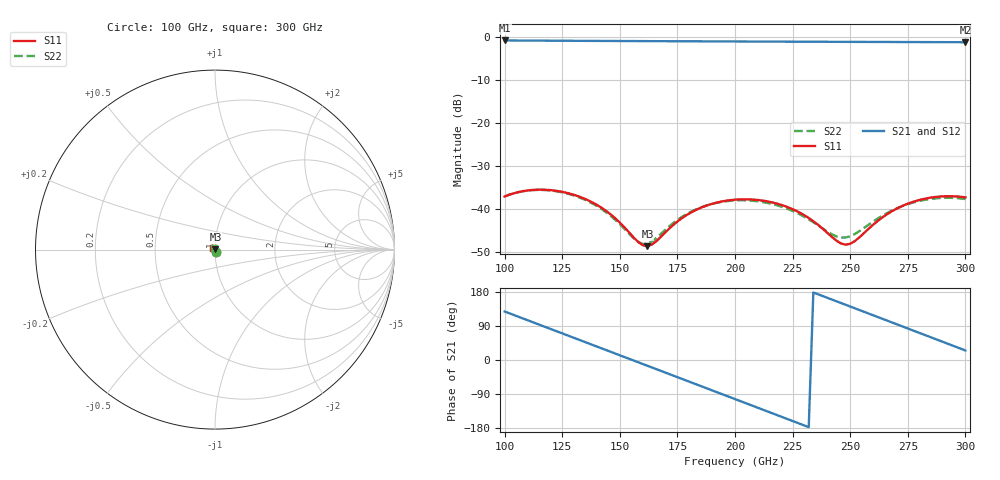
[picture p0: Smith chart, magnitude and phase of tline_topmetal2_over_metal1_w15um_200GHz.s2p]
#  GHZ S DB R 50
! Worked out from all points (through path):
!   101 points, 100 GHz to 300 GHz, reference 50 ohm
!   highest |S21| = -0.70 dB at 100 GHz (marker M1); lowest = -1.1 dB at 300 GHz (marker M2)
!   group delay of S21, straight-line fit = 6.43 ps
!   lowest |S11| = -48.7 dB at 162 GHz (marker M3), VSWR 1.01, Z = 50.2 + j0.269 ohm
!   |S11| at or under -10 dB: start of sweep to end of sweep
!   |S22| runs from -48.2 to -35.6 dB; largest |S21 - S12| = 1.1e-14
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100  -37.16 -53.3  -0.70 128.0  -0.70 128.0  -37.12 -53.3
108  -35.90 -77.4  -0.72 109.5  -0.72 109.5  -35.91 -77.3
116  -35.55 -101.0  -0.75 91.1  -0.75 91.1  -35.61 -101.1
124  -35.95 -124.9  -0.77 72.6  -0.77 72.6  -36.07 -125.1
134  -37.51 -156.2  -0.79 49.5  -0.79 49.5  -37.71 -156.8
148  -42.22 151.8  -0.83 17.1  -0.83 17.1  -42.58 149.2
158  -47.77 87.9  -0.85 -6.0  -0.85 -6.0  -47.75 81.3
162  -48.74 47.2  -0.86 -15.2  -0.86 -15.2  -48.18 41.3
168  -46.46 -7.4  -0.87 -29.1  -0.87 -29.1  -45.78 -8.9
184  -40.04 -83.4  -0.91 -66.1  -0.91 -66.1  -39.94 -83.0
192  -38.57 -111.1  -0.92 -84.6  -0.92 -84.6  -38.63 -111.2
200  -37.88 -137.5  -0.94 -103.1  -0.94 -103.1  -38.07 -138.1
208  -37.87 -163.4  -0.96 -121.6  -0.96 -121.6  -38.16 -165.0
218  -38.77 163.5  -0.98 -144.8  -0.98 -144.8  -39.16 160.3
226  -40.34 135.3  -0.99 -163.3  -0.99 -163.3  -40.75 130.0
234  -42.91 102.6  -1.00 178.2  -1.00 178.2  -43.16 94.2
248  -48.39 5.0  -1.03 145.8  -1.03 145.8  -46.72 -2.6
258  -44.67 -74.4  -1.05 122.6  -1.05 122.6  -43.73 -72.3
268  -40.62 -119.8  -1.06 99.4  -1.06 99.4  -40.46 -118.6
276  -38.62 -148.1  -1.08 80.8  -1.08 80.8  -38.75 -148.7
284  -37.49 -173.9  -1.09 62.3  -1.09 62.3  -37.78 -176.5
300  -37.35 137.0  -1.11 25.2  -1.11 25.2  -37.73 129.7
